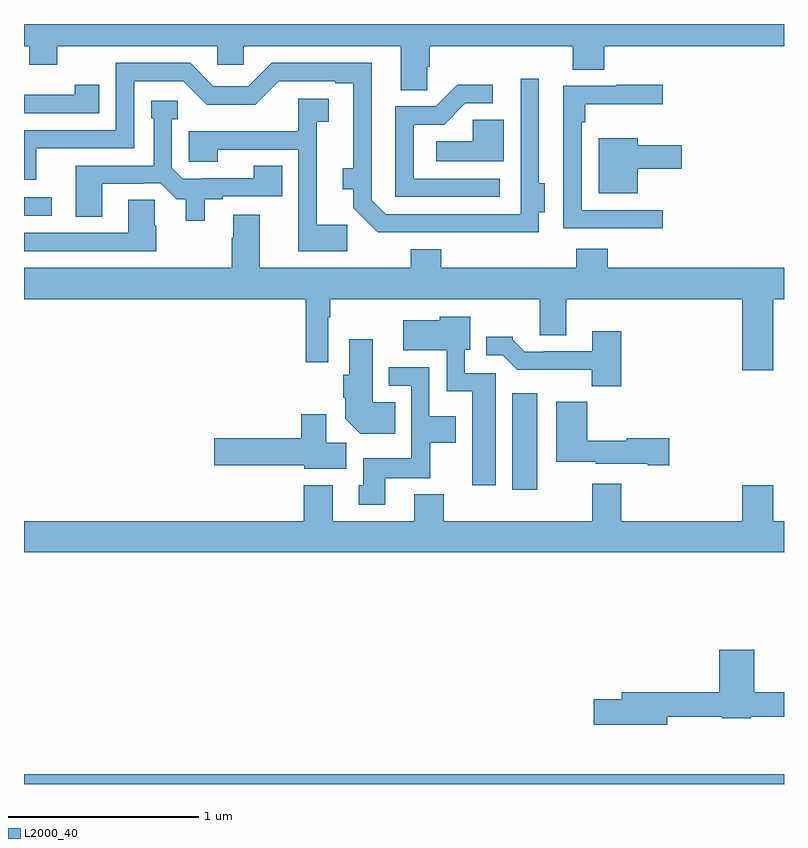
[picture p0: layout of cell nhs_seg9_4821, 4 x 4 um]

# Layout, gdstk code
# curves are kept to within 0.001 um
import gdstk
lib = gdstk.Library(unit=1e-6, precision=1e-09)
def R(c, l, rs):  # rectangles x0, y0, x1, y1
    for r in rs: c.add(gdstk.rectangle(r[:2], r[2:], *l))
def P(c, l, *ps):  # polygons
    for p in ps: c.add(gdstk.Polygon(p, *l))
L2000_40 = (2000, 40)

nhs_seg9_4821 = lib.new_cell('nhs_seg9_4821')
R(nhs_seg9_4821, L2000_40, [(389,1228.5,393,1228.552), (391.571,1230.048,391.702,1230.556), (389,1231.491,389.146,1231.587)])
P(nhs_seg9_4821, L2000_40, [(391.122,1232.275),(391.136,1232.275),(391.136,1232.384),(391.889,1232.384),(391.889,1232.26),(392.054,1232.26),(392.054,1232.384),(393,1232.384),(393,1232.5),(389,1232.5),(389,1232.384),(389.027,1232.384),(389.027,1232.285),(389.175,1232.285),(389.175,1232.384),(390.018,1232.384),(390.018,1232.286),(390.156,1232.286),(390.156,1232.384),(390.983,1232.384),(390.983,1232.152),(391.122,1232.152)],
  [(390.964,1231.404),(391.71,1231.403),(391.71,1231.508),(391.741,1231.508),(391.741,1231.661),(391.71,1231.661),(391.71,1232.212),(391.614,1232.212),(391.614,1231.5),(390.903,1231.5),(390.831,1231.572),(390.831,1232.295),(390.303,1232.295),(390.18,1232.172),(389.997,1232.172),(389.874,1232.295),(389.484,1232.295),(389.484,1231.941),(389,1231.941),(389,1231.68),(389.065,1231.68),(389.065,1231.845),(389.58,1231.845),(389.58,1232.199),(389.838,1232.199),(389.962,1232.075),(390.216,1232.075),(390.34,1232.199),(390.638,1232.199),(390.638,1232.187),(390.734,1232.187),(390.734,1231.741),(390.677,1231.741),(390.677,1231.631),(390.734,1231.631),(390.734,1231.532),(390.863,1231.403)],
  [(391.504,1231.686),(391.05,1231.686),(391.05,1231.971),(391.212,1231.971),(391.323,1232.082),(391.468,1232.082),(391.468,1232.18),(391.28,1232.18),(391.167,1232.067),(390.954,1232.067),(390.954,1231.59),(391.504,1231.59)],
  [(389.395,1232.179),(389.267,1232.179),(389.267,1232.128),(389,1232.128),(389,1232.031),(389.395,1232.031)],
  [(392.362,1231.521),(391.935,1231.521),(391.935,1231.982),(391.955,1231.982),(391.955,1232.078),(392.362,1232.078),(392.362,1232.179),(392.117,1232.179),(392.117,1232.175),(391.839,1232.175),(391.839,1231.425),(392.362,1231.425)],
  [(390.702,1231.443),(390.541,1231.443),(390.541,1231.986),(390.604,1231.986),(390.604,1232.107),(390.444,1232.107),(390.444,1231.936),(389.977,1231.936),(389.977,1231.935),(389.867,1231.935),(389.867,1231.774),(390.021,1231.774),(390.021,1231.839),(390.444,1231.839),(390.444,1231.304),(390.702,1231.304)],
  [(389.95,1231.578),(390.046,1231.578),(390.046,1231.593),(390.359,1231.593),(390.359,1231.754),(390.208,1231.754),(390.208,1231.689),(389.935,1231.689),(389.935,1231.686),(389.835,1231.686),(389.778,1231.743),(389.778,1231.999),(389.808,1231.999),(389.808,1232.097),(389.669,1232.097),(389.669,1232.004),(389.682,1232.004),(389.682,1231.755),(389.273,1231.755),(389.273,1231.486),(389.413,1231.486),(389.413,1231.659),(389.627,1231.659),(389.627,1231.662),(389.721,1231.662),(389.805,1231.578),(389.852,1231.578),(389.852,1231.464),(389.95,1231.464)],
  [(391.525,1231.997),(391.362,1231.997),(391.362,1231.882),(391.17,1231.882),(391.17,1231.778),(391.525,1231.778)],
  [(392.23,1231.739),(392.461,1231.739),(392.461,1231.861),(392.23,1231.861),(392.23,1231.9),(392.024,1231.9),(392.024,1231.61),(392.23,1231.61)],
  [(389.697,1231.437),(389.687,1231.437),(389.687,1231.574),(389.549,1231.574),(389.549,1231.401),(389,1231.401),(389,1231.305),(389.697,1231.305)],
  [(392.944,1231.052),(393,1231.052),(393,1231.216),(392.072,1231.216),(392.072,1231.318),(391.907,1231.318),(391.907,1231.216),(391.196,1231.216),(391.196,1231.315),(391.036,1231.315),(391.036,1231.216),(390.241,1231.216),(390.241,1231.495),(390.101,1231.495),(390.101,1231.376),(390.094,1231.376),(390.094,1231.216),(389,1231.216),(389,1231.052),(390.484,1231.052),(390.484,1230.72),(390.6,1230.72),(390.6,1230.956),(390.613,1230.956),(390.613,1231.052),(391.715,1231.052),(391.715,1230.862),(391.855,1230.862),(391.855,1231.052),(392.78,1231.052),(392.78,1230.678),(392.944,1230.678)],
  [(391.483,1230.663),(391.32,1230.663),(391.32,1230.786),(391.348,1230.786),(391.348,1230.958),(391.188,1230.958),(391.188,1230.94),(390.996,1230.94),(390.996,1230.782),(391.224,1230.782),(391.224,1230.566),(391.358,1230.566),(391.358,1230.072),(391.483,1230.072)],
  [(392.144,1230.883),(391.991,1230.883),(391.991,1230.777),(391.735,1230.777),(391.735,1230.774),(391.636,1230.774),(391.572,1230.838),(391.572,1230.853),(391.433,1230.853),(391.433,1230.756),(391.521,1230.756),(391.597,1230.68),(391.989,1230.68),(391.989,1230.593),(392.144,1230.593)],
  [(390.953,1230.508),(390.835,1230.508),(390.835,1230.841),(390.713,1230.841),(390.713,1230.654),(390.68,1230.654),(390.68,1230.532),(390.692,1230.532),(390.692,1230.422),(390.77,1230.344),(390.953,1230.344)],
  [(390.901,1230.11),(391.137,1230.11),(391.137,1230.296),(391.273,1230.296),(391.273,1230.436),(391.134,1230.436),(391.134,1230.693),(390.921,1230.693),(390.921,1230.597),(391.038,1230.597),(391.038,1230.214),(390.785,1230.214),(390.785,1230.072),(390.761,1230.072),(390.761,1229.97),(390.901,1229.97)],
  [(392.395,1230.32),(392.172,1230.32),(392.172,1230.307),(391.964,1230.307),(391.964,1230.511),(391.802,1230.511),(391.802,1230.197),(392.01,1230.197),(392.01,1230.185),(392.282,1230.185),(392.282,1230.178),(392.395,1230.178)],
  [(390.697,1230.296),(390.592,1230.296),(390.592,1230.445),(390.458,1230.445),(390.458,1230.32),(390,1230.32),(390,1230.178),(390.474,1230.178),(390.474,1230.158),(390.697,1230.158)],
  [(393,1229.884),(392.944,1229.884),(392.944,1230.073),(392.78,1230.073),(392.78,1229.884),(392.144,1229.884),(392.144,1230.079),(391.991,1230.079),(391.991,1229.884),(391.208,1229.884),(391.208,1230.025),(391.055,1230.025),(391.055,1229.884),(390.625,1229.884),(390.625,1230.073),(390.473,1230.073),(390.473,1229.884),(389,1229.884),(389,1229.72),(393,1229.72)],
  [(392.386,1228.854),(392.676,1228.854),(392.676,1228.846),(392.826,1228.846),(392.826,1228.854),(393,1228.854),(393,1228.982),(392.843,1228.982),(392.843,1229.206),(392.66,1229.206),(392.66,1228.982),(392.147,1228.982),(392.147,1228.946),(391.998,1228.946),(391.998,1228.811),(392.386,1228.811)])

lib.write_gds('nhs_seg9_4821.gds')
